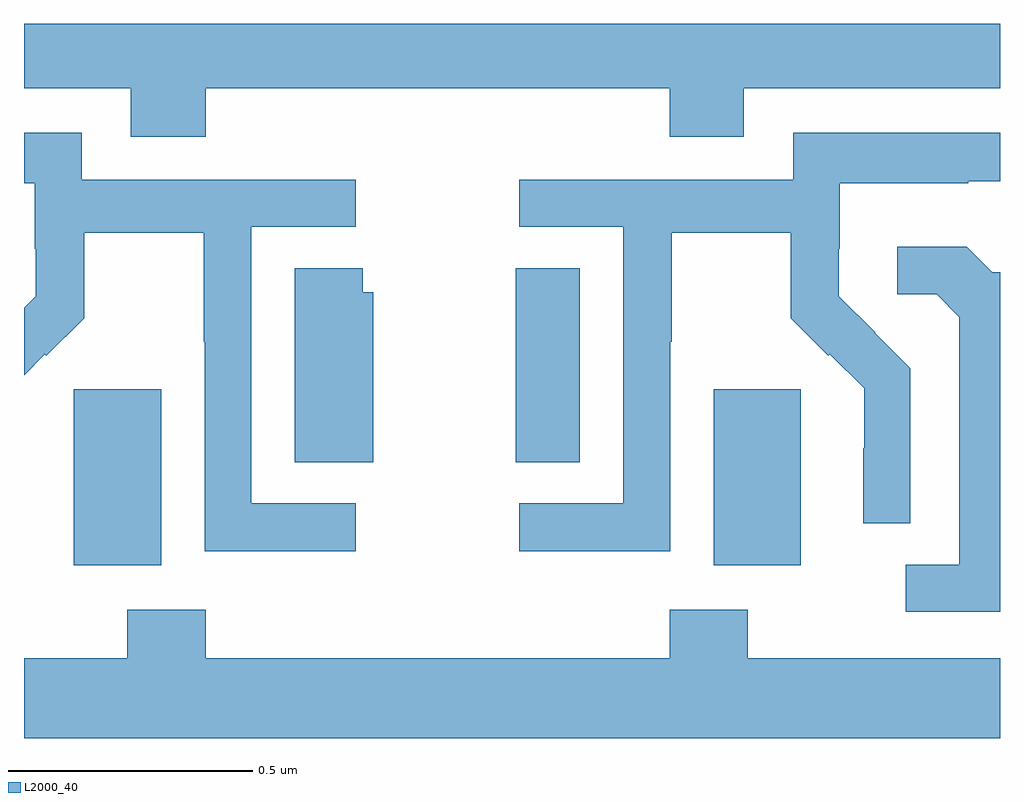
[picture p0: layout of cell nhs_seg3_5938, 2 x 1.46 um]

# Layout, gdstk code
import gdstk
lib = gdstk.Library(unit=1e-6, precision=1e-09)
def R(c, l, rs):  # rectangles x0, y0, x1, y1
    for r in rs: c.add(gdstk.rectangle(r[:2], r[2:], *l))
def P(c, l, *ps):  # polygons
    for p in ps: c.add(gdstk.Polygon(p, *l))
L2000_40 = (2000, 40)

nhs_seg3_5938 = lib.new_cell('nhs_seg3_5938')
R(nhs_seg3_5938, L2000_40, [(185.102,681.29,185.281,681.651), (186.413,681.29,186.592,681.651), (186.008,681.502,186.139,681.899)])
P(nhs_seg3_5938, L2000_40, [(185,682.268),(185.219,682.268),(185.219,682.169),(185.372,682.169),(185.372,682.268),(186.323,682.268),(186.323,682.169),(186.475,682.169),(186.475,682.268),(187,682.268),(187,682.4),(185,682.4)],
  [(186.324,681.748),(186.327,681.748),(186.327,681.972),(186.571,681.972),(186.571,681.797),(186.648,681.72),(186.651,681.723),(186.722,681.653),(186.722,681.53),(186.72,681.53),(186.72,681.376),(186.816,681.376),(186.816,681.694),(186.743,681.767),(186.744,681.768),(186.67,681.842),(186.67,681.939),(186.672,681.939),(186.672,682.073),(186.935,682.073),(186.935,682.077),(187,682.077),(187,682.177),(186.576,682.177),(186.576,682.08),(186.015,682.08),(186.015,681.984),(186.228,681.984),(186.228,681.417),(186.015,681.417),(186.015,681.319),(186.324,681.319)],
  [(185.68,681.417),(185.466,681.417),(185.466,681.984),(185.68,681.984),(185.68,682.08),(185.118,682.08),(185.118,682.177),(185,682.177),(185,682.073),(185.022,682.073),(185.022,681.939),(185.024,681.939),(185.024,681.842),(185,681.818),(185,681.68),(185.043,681.723),(185.046,681.72),(185.123,681.797),(185.123,681.972),(185.368,681.972),(185.368,681.748),(185.37,681.748),(185.37,681.319),(185.68,681.319)],
  [(187,681.891),(186.984,681.891),(186.932,681.943),(186.789,681.943),(186.789,681.846),(186.87,681.846),(186.917,681.799),(186.917,681.291),(186.807,681.291),(186.807,681.195),(187,681.195)],
  [(185.716,681.85),(185.694,681.85),(185.694,681.899),(185.555,681.899),(185.555,681.502),(185.716,681.502)],
  [(187,681.1),(186.483,681.1),(186.483,681.199),(186.323,681.199),(186.323,681.1),(185.372,681.1),(185.372,681.199),(185.212,681.199),(185.212,681.1),(185,681.1),(185,680.936),(187,680.936)])

lib.write_gds('nhs_seg3_5938.gds')
